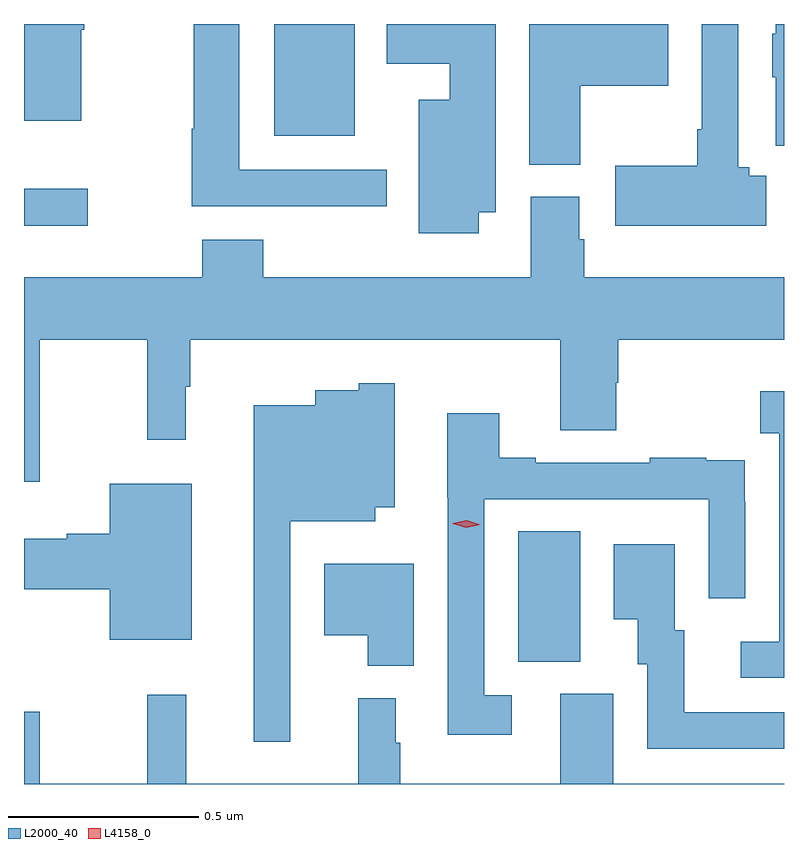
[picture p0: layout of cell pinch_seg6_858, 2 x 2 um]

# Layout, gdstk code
import gdstk
lib = gdstk.Library(unit=1e-6, precision=1e-09)
def R(c, l, rs):  # rectangles x0, y0, x1, y1
    for r in rs: c.add(gdstk.rectangle(r[:2], r[2:], *l))
def P(c, l, *ps):  # polygons
    for p in ps: c.add(gdstk.Polygon(p, *l))
L2000_40 = (2000, 40)
L4158_0 = (4158, 0)

pinch_seg6_858 = lib.new_cell('pinch_seg6_858')
R(pinch_seg6_858, L2000_40, [(130.466,977.125,130.63,977.468), (129.166,978.272,129.334,978.369), (129.824,978.509,130.036,978.803)])
P(pinch_seg6_858, L2000_40, [(130.12,978.42),(129.733,978.42),(129.733,978.803),(129.613,978.803),(129.613,978.527),(129.608,978.527),(129.608,978.323),(130.12,978.323)],
  [(131.119,978.404),(131.074,978.404),(131.074,978.426),(131.046,978.426),(131.046,978.803),(130.95,978.803),(130.95,978.526),(130.938,978.526),(130.938,978.43),(130.722,978.43),(130.722,978.272),(131.119,978.272)],
  [(131.166,978.803),(131.144,978.803),(131.144,978.777),(131.135,978.777),(131.135,978.663),(131.144,978.663),(131.144,978.483),(131.166,978.483)],
  [(130.363,978.308),(130.408,978.308),(130.408,978.803),(130.121,978.803),(130.121,978.698),(130.286,978.698),(130.286,978.604),(130.205,978.604),(130.205,978.252),(130.363,978.252)],
  [(129.316,978.788),(129.324,978.788),(129.324,978.803),(129.166,978.803),(129.166,978.548),(129.316,978.548)],
  [(130.63,978.641),(130.861,978.641),(130.861,978.803),(130.496,978.803),(130.496,978.433),(130.63,978.433)],
  [(129.208,977.972),(129.49,977.972),(129.49,977.709),(129.592,977.709),(129.592,977.849),(129.604,977.849),(129.604,977.972),(130.577,977.972),(130.577,977.734),(130.725,977.734),(130.725,977.859),(130.73,977.859),(130.73,977.972),(131.166,977.972),(131.166,978.136),(130.64,978.136),(130.64,978.237),(130.627,978.237),(130.627,978.348),(130.499,978.348),(130.499,978.136),(129.795,978.136),(129.795,978.235),(129.635,978.235),(129.635,978.136),(129.166,978.136),(129.166,977.598),(129.208,977.598)],
  [(129.867,977.495),(130.09,977.495),(130.09,977.531),(130.141,977.531),(130.141,977.857),(130.047,977.857),(130.047,977.839),(129.932,977.839),(129.932,977.8),(129.77,977.8),(129.77,976.914),(129.867,976.914)],
  [(131.166,977.836),(131.103,977.836),(131.103,977.726),(131.154,977.726),(131.154,977.178),(131.052,977.178),(131.052,977.082),(131.166,977.082)],
  [(130.45,977.037),(130.377,977.037),(130.377,977.553),(130.968,977.553),(130.968,977.292),(131.064,977.292),(131.064,977.546),(131.063,977.546),(131.063,977.655),(130.961,977.655),(130.961,977.662),(130.813,977.662),(130.813,977.649),(130.513,977.649),(130.513,977.662),(130.417,977.662),(130.417,977.779),(130.28,977.779),(130.28,977.556),(130.281,977.556),(130.281,976.932),(130.45,976.932)],
  [(129.607,977.593),(129.392,977.593),(129.392,977.462),(129.279,977.462),(129.279,977.449),(129.166,977.449),(129.166,977.315),(129.392,977.315),(129.392,977.183),(129.607,977.183)],
  [(131.166,976.992),(130.903,976.992),(130.903,977.208),(130.879,977.208),(130.879,977.434),(130.718,977.434),(130.718,977.237),(130.781,977.237),(130.781,977.118),(130.806,977.118),(130.806,976.896),(131.166,976.896)],
  [(130.192,977.383),(129.956,977.383),(129.956,977.195),(130.07,977.195),(130.07,977.114),(130.192,977.114)],
  [(131.166,976.804),(130.717,976.804),(130.717,977.04),(130.577,977.04),(130.577,976.804),(130.156,976.804),(130.156,976.911),(130.144,976.911),(130.144,977.029),(130.046,977.029),(130.046,976.804),(129.593,976.804),(129.593,977.038),(129.49,977.038),(129.49,976.804),(129.208,976.804),(129.208,976.993),(129.166,976.993),(129.166,976.803),(131.166,976.803)])
P(pinch_seg6_858, L4158_0, [(130.33,977.477),(130.294,977.488),(130.294,977.489),(130.294,977.489),(130.331,977.497),(130.366,977.485),(130.366,977.485),(130.366,977.485)])

lib.write_gds('pinch_seg6_858.gds')
